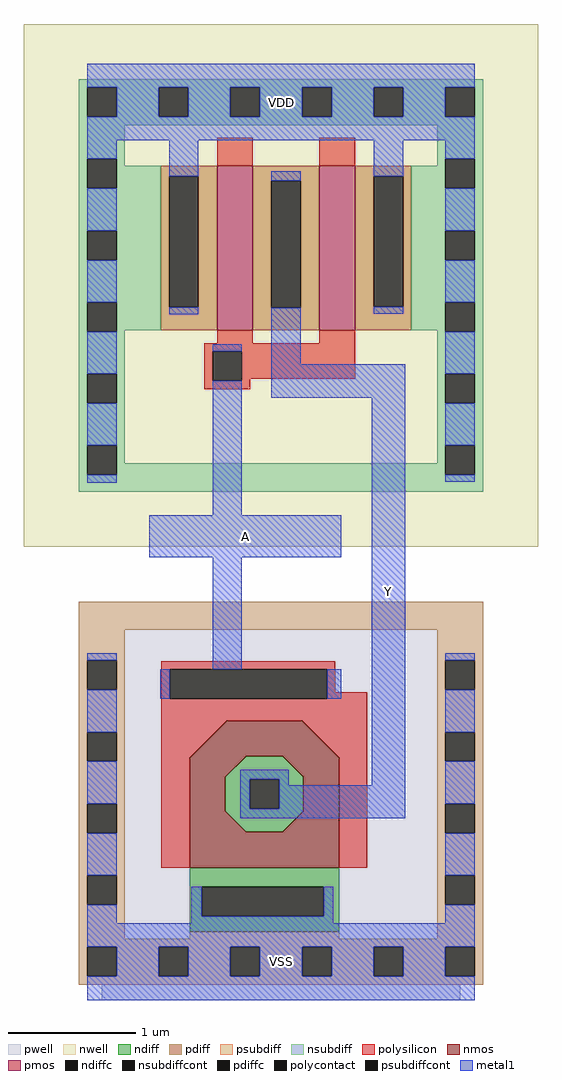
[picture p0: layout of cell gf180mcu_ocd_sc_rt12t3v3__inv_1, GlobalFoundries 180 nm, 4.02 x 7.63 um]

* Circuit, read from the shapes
.subckt gf180mcu_ocd_sc_rt12t3v3__inv_1 VDD VSS Y A
XM1 Y A VSS VSS nfet_03v3 w=1.785u l=0.539u
XM2 Y A VDD VDD pfet_03v3 w=1.285u l=0.28u m=2
.ends

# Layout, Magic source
magic
tech gf180mcuD
magscale 1 10
<< nwell >>
rect -122 649 682 1466
<< pwell >>
rect -36 -36 596 563
rect 0 -60 560 -36
<< nmos >>
tri 137 319 195 377 se
rect 195 321 313 377
rect 195 319 223 321
tri 223 319 225 321 nw
tri 283 319 285 321 ne
rect 285 319 313 321
tri 313 319 371 377 sw
rect 137 203 193 319
tri 193 289 223 319 nw
tri 285 289 315 319 ne
tri 193 203 225 235 sw
tri 283 203 315 235 se
rect 315 203 371 319
rect 137 147 371 203
<< pmos >>
rect 180 987 236 1244
rect 340 987 396 1244
<< ndiff >>
tri 223 319 225 321 se
rect 225 319 283 321
tri 283 319 285 321 sw
tri 193 289 223 319 se
rect 223 289 285 319
tri 285 289 315 319 sw
rect 193 285 315 289
rect 193 239 231 285
rect 277 239 315 285
rect 193 235 315 239
tri 193 203 225 235 ne
rect 225 203 283 235
tri 283 203 315 235 nw
rect 137 117 371 147
rect 137 71 156 117
rect 347 71 371 117
rect 137 47 371 71
<< pdiff >>
rect 92 1228 180 1244
rect 92 1023 105 1228
rect 151 1023 180 1228
rect 92 987 180 1023
rect 236 1221 340 1244
rect 236 1022 265 1221
rect 311 1022 340 1221
rect 236 987 340 1022
rect 396 1228 484 1244
rect 396 1024 425 1228
rect 471 1024 484 1228
rect 396 987 484 1024
<< ndiffc >>
rect 231 239 277 285
rect 156 71 347 117
<< pdiffc >>
rect 105 1023 151 1228
rect 265 1022 311 1221
rect 425 1024 471 1228
<< psubdiff >>
rect -36 519 596 563
rect -36 471 36 519
rect -36 425 -23 471
rect 23 425 36 471
rect 524 471 596 519
rect -36 359 36 425
rect -36 313 -23 359
rect 23 313 36 359
rect -36 247 36 313
rect -36 201 -23 247
rect 23 201 36 247
rect -36 135 36 201
rect 524 425 537 471
rect 583 425 596 471
rect 524 359 596 425
rect 524 313 537 359
rect 583 313 596 359
rect 524 247 596 313
rect 524 201 537 247
rect 583 201 596 247
rect -36 89 -23 135
rect 23 89 36 135
rect -36 36 36 89
rect 137 36 371 47
rect 524 135 596 201
rect 524 89 537 135
rect 583 89 596 135
rect 524 36 596 89
rect -36 23 596 36
rect -36 -23 -23 23
rect 23 -23 89 23
rect 135 -23 201 23
rect 247 -23 313 23
rect 359 -23 425 23
rect 471 -23 537 23
rect 583 -23 596 23
rect -36 -36 596 -23
<< nsubdiff >>
rect -36 1367 596 1380
rect -36 1321 -23 1367
rect 23 1321 89 1367
rect 135 1321 201 1367
rect 247 1321 313 1367
rect 359 1321 425 1367
rect 471 1321 537 1367
rect 583 1321 596 1367
rect -36 1308 596 1321
rect -36 1255 36 1308
rect -36 1209 -23 1255
rect 23 1244 36 1255
rect 524 1255 596 1308
rect 524 1244 537 1255
rect 23 1209 92 1244
rect -36 1143 92 1209
rect -36 1097 -23 1143
rect 23 1097 92 1143
rect -36 1031 92 1097
rect -36 985 -23 1031
rect 23 987 92 1031
rect 484 1209 537 1244
rect 583 1209 596 1255
rect 484 1143 596 1209
rect 484 1097 537 1143
rect 583 1097 596 1143
rect 484 1031 596 1097
rect 484 987 537 1031
rect 23 985 36 987
rect -36 919 36 985
rect -36 873 -23 919
rect 23 873 36 919
rect 524 985 537 987
rect 583 985 596 1031
rect 524 919 596 985
rect -36 807 36 873
rect -36 761 -23 807
rect 23 779 36 807
rect 524 873 537 919
rect 583 873 596 919
rect 524 807 596 873
rect 524 779 537 807
rect 23 761 537 779
rect 583 761 596 807
rect -36 735 596 761
<< psubdiffcont >>
rect -23 425 23 471
rect -23 313 23 359
rect -23 201 23 247
rect 537 425 583 471
rect 537 313 583 359
rect 537 201 583 247
rect -23 89 23 135
rect 537 89 583 135
rect -23 -23 23 23
rect 89 -23 135 23
rect 201 -23 247 23
rect 313 -23 359 23
rect 425 -23 471 23
rect 537 -23 583 23
<< nsubdiffcont >>
rect -23 1321 23 1367
rect 89 1321 135 1367
rect 201 1321 247 1367
rect 313 1321 359 1367
rect 425 1321 471 1367
rect 537 1321 583 1367
rect -23 1209 23 1255
rect -23 1097 23 1143
rect -23 985 23 1031
rect 537 1209 583 1255
rect 537 1097 583 1143
rect -23 873 23 919
rect 537 985 583 1031
rect -23 761 23 807
rect 537 873 583 919
rect 537 761 583 807
<< polysilicon >>
rect 180 1244 236 1288
rect 340 1244 396 1288
rect 180 967 236 987
rect 340 967 396 987
rect 160 954 396 967
rect 160 908 173 954
rect 219 911 396 954
rect 219 908 232 911
rect 160 895 232 908
rect 93 457 365 470
rect 93 411 106 457
rect 352 421 365 457
rect 352 411 415 421
rect 93 377 415 411
rect 93 147 137 377
tri 137 319 195 377 nw
tri 313 319 371 377 ne
rect 371 147 415 377
<< polycontact >>
rect 173 908 219 954
rect 106 411 352 457
<< metal1 >>
rect -23 1367 583 1404
rect 23 1321 89 1367
rect 135 1321 201 1367
rect 247 1321 313 1367
rect 359 1321 425 1367
rect 471 1321 537 1367
rect -23 1284 583 1321
rect -23 1255 23 1284
rect -23 1143 23 1209
rect -23 1031 23 1097
rect 105 1228 151 1284
rect 105 1012 151 1023
rect 265 1221 311 1236
rect -23 919 23 985
rect -23 807 23 873
rect -23 749 23 761
rect 173 954 219 965
rect 173 698 219 908
rect 265 934 311 1022
rect 425 1228 471 1284
rect 425 1013 471 1024
rect 537 1255 583 1284
rect 537 1143 583 1209
rect 537 1031 583 1097
rect 265 882 474 934
rect 74 632 374 698
rect -23 471 23 482
rect 173 457 219 632
rect -23 359 23 425
rect 91 411 106 457
rect 352 411 374 457
rect -23 247 23 313
rect 216 285 292 300
rect 216 239 231 285
rect 277 276 292 285
rect 422 276 474 882
rect 537 919 583 985
rect 537 807 583 873
rect 537 750 583 761
rect 277 239 474 276
rect 216 224 474 239
rect 537 471 583 482
rect 537 359 583 425
rect 537 247 583 313
rect -23 135 23 201
rect 537 135 583 201
rect -23 60 23 89
rect 140 71 156 117
rect 347 71 362 117
rect 140 60 362 71
rect 537 60 583 89
rect -23 23 583 60
rect 23 -23 89 23
rect 135 -23 201 23
rect 247 -23 313 23
rect 359 -23 425 23
rect 471 -23 537 23
rect -23 -60 583 -23
<< labels >>
flabel metal1 s 0 -60 560 60 0 FreeSans 400 0 0 0 VSS
port 4 nsew ground bidirectional abutment
flabel metal1 s 0 1284 560 1404 0 FreeSans 400 0 0 0 VDD
port 1 nsew power bidirectional abutment
flabel metal1 s 74 632 374 698 0 FreeSans 320 0 0 0 A
port 10 nsew
flabel metal1 s 422 224 474 934 0 FreeSans 320 0 0 0 Y
port 8 nsew
<< properties >>
string FIXED_BBOX 0 0 560 1344
<< end >>
